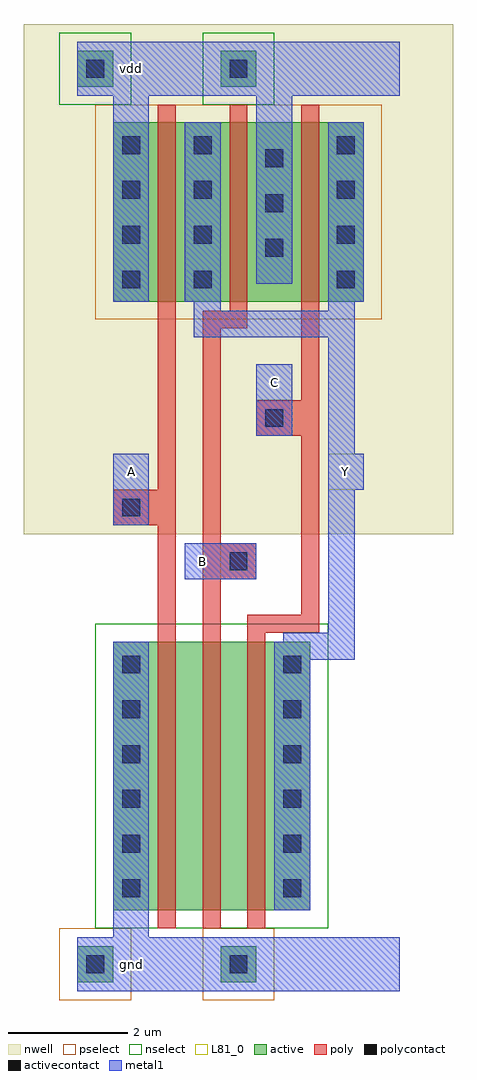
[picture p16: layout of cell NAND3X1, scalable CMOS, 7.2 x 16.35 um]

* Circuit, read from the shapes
.subckt NAND3X1 A B C Y gnd vdd
M1 n1 A gnd gnd nfet w=4.5u l=0.3u
M2 n2 B n1 gnd nfet w=4.5u l=0.3u
M3 Y C n2 gnd nfet w=4.5u l=0.3u
M4 Y A vdd vdd pfet w=3u l=0.3u
M5 vdd B Y vdd pfet w=3u l=0.3u
M6 Y C vdd vdd pfet w=3u l=0.3u
.ends

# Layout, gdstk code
import gdstk
lib = gdstk.Library(unit=1e-6, precision=1e-09)
def R(c, l, rs):  # rectangles x0, y0, x1, y1
    for r in rs: c.add(gdstk.rectangle(r[:2], r[2:], *l))
def A(c, l, x, y, w, h, nx, ny, dx, dy):  # array of equal rectangles
    R(c, l, [(x+i*dx, y+j*dy, x+i*dx+w, y+j*dy+h) for i in range(nx) for j in range(ny)])
nwell = (42, 0)
active = (43, 0)
pselect = (44, 0)
nselect = (45, 0)
poly = (46, 0)
polycontact = (47, 0)
activecontact = (48, 0)
metal1 = (49, 0)
L81_0 = (81, 0)

nand3x1 = lib.new_cell('NAND3X1')
R(nand3x1, nwell, [(-1.2,7.2,6,15.75)])
R(nand3x1, active, [(-0.3,-0.3,0.3,0.3), (2.1,-0.3,2.7,0.3), (0.3,0.9,3.6,5.4), (0.3,11.1,4.5,14.1), (-0.3,14.7,0.3,15.3), (2.1,14.7,2.7,15.3)])
R(nand3x1, pselect, [(-0.6,-0.6,0.6,0.6), (1.8,-0.6,3,0.6), (0,10.8,4.8,14.4)])
R(nand3x1, nselect, [(0,0.6,3.9,5.7), (-0.6,14.4,0.6,15.6), (1.8,14.4,3,15.6)])
R(nand3x1, poly, [(1.05,0.6,1.35,7.35), (1.8,0.6,2.1,6.45), (2.55,0.6,2.85,5.55), (2.55,5.55,3.75,5.85), (3.45,5.85,3.75,8.85), (1.8,6.45,2.7,7.05), (1.8,7.05,2.1,10.65), (0.3,7.35,1.35,7.95), (1.05,7.95,1.35,14.4), (2.7,8.85,3.75,9.45), (3.45,9.45,3.75,14.4), (1.8,10.65,2.55,10.95), (2.25,10.95,2.55,14.4)])
R(nand3x1, polycontact, [(2.25,6.6,2.55,6.9), (0.45,7.5,0.75,7.8), (2.85,9,3.15,9.3)])
A(nand3x1, activecontact, 0.45, 1.12, 0.3, 0.3, 1, 6, 0, 0.75)
A(nand3x1, activecontact, 3.15, 1.12, 0.3, 0.3, 1, 6, 0, 0.75)
A(nand3x1, activecontact, 0.45, 11.32, 0.3, 0.3, 1, 4, 0, 0.75)
A(nand3x1, activecontact, 1.65, 11.32, 0.3, 0.3, 1, 4, 0, 0.75)
A(nand3x1, activecontact, 4.05, 11.32, 0.3, 0.3, 1, 4, 0, 0.75)
A(nand3x1, activecontact, 2.85, 11.85, 0.3, 0.3, 1, 3, 0, 0.75)
R(nand3x1, activecontact, [(-0.15,-0.15,0.15,0.15), (2.25,-0.15,2.55,0.15), (-0.15,14.85,0.15,15.15), (2.25,14.85,2.55,15.15)])
R(nand3x1, metal1, [(-0.3,-0.45,5.1,0.45), (0.3,0.45,0.9,5.4), (3,0.9,3.6,5.1), (3,5.1,4.35,5.4), (3.15,5.4,4.35,5.55), (3.9,5.55,4.35,7.95), (1.5,6.45,2.7,7.05), (0.3,7.35,0.9,8.55), (3.9,7.95,4.5,8.55), (3.9,8.55,4.35,10.5), (2.7,8.85,3.3,10.05), (1.65,10.5,4.35,10.95), (1.65,10.95,2.1,11.1), (3.9,10.95,4.35,11.1), (0.3,11.1,0.9,14.55), (1.5,11.1,2.1,14.1), (3.9,11.1,4.5,14.1), (2.7,11.4,3.3,14.55), (-0.3,14.55,5.1,15.45)])
R(nand3x1, L81_0, [(1.5,6.45,2.1,7.05), (0.3,7.95,0.9,8.55), (3.9,7.95,4.5,8.55), (2.7,9.45,3.3,10.05)])
nand3x1.add(gdstk.Label('B', (1.8,6.75), layer=109, texttype=0))
nand3x1.add(gdstk.Label('vdd', (0.6,15), layer=109, texttype=0))
nand3x1.add(gdstk.Label('gnd', (0.6,0), layer=109, texttype=0))
nand3x1.add(gdstk.Label('A', (0.6,8.25), layer=109, texttype=0))
nand3x1.add(gdstk.Label('C', (3,9.75), layer=109, texttype=0))
nand3x1.add(gdstk.Label('Y', (4.2,8.25), layer=109, texttype=0))

lib.write_gds('NAND3X1.gds')
